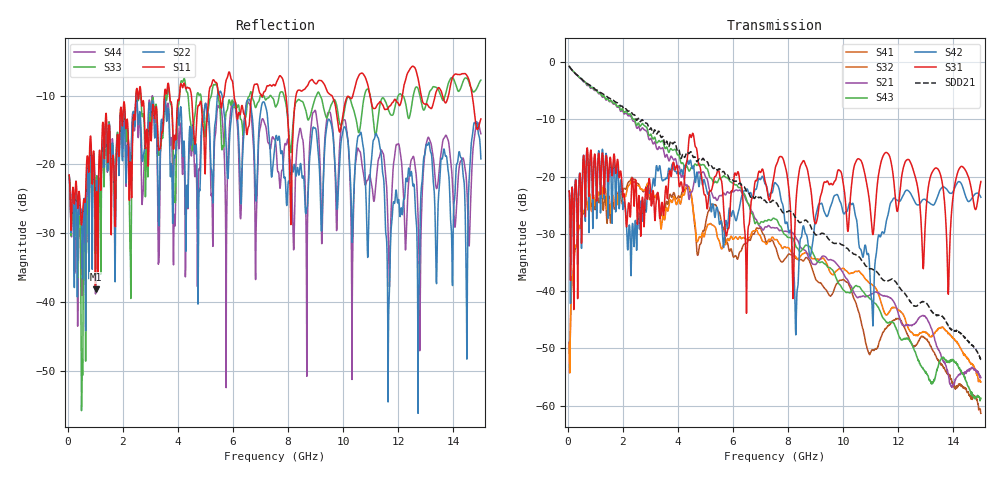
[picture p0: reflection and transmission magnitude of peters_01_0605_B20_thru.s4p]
! peters_01_0605 B20 channel thru response
#  HZ  S  RI  R  50
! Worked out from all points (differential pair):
!   1496 points, 50 MHz to 15 GHz, reference 50 ohm
!   strongest paths, dB at 50 MHz, 3.79 GHz, 7.53 GHz, 11.27 GHz, 15 GHz:
!     S31: -22.5, -18.6, -18.6, -20.2, -20.8
!     S42: -22.5, -17.8, -21.0, -30.5, -23.6
!     S43: -0.7, -15.3, -27.4, -42.8, -58.7
!     S21: -0.7, -16.7, -29.0, -40.3, -55.1
!     S32: -49.4, -24.5, -31.0, -40.4, -55.9
!     S41: -48.9, -23.6, -32.2, -49.7, -61.3
!   taken as a pair (ports 3,1 in; 4,2 out), SDD21 dB: -0.7, -14.2, -24.5, -36.9, -52.0
!   lowest |S11| = -38.1 dB at 1.01 GHz (marker M1), VSWR 1.03, Z = 50.1 - j1.24 ohm
!   |S11| at or under -10 dB: start of sweep to 2.477 GHz; 2.662 GHz to 3.51 GHz (847.9 MHz wide, 27.5 % of centre); 10.97 GHz to 12.15 GHz (1.177 GHz wide, 10.2 % of centre)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
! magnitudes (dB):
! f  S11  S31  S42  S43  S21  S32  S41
! 50 MHz  -21.5  -22.5  -22.5  -0.7  -0.7  -49.4  -48.9
! 1.01 GHz  -38.1  -17.7  -18.0  -4.9  -4.9  -24.9  -25.2
! 7.57 GHz  -8.2  -18.0  -21.2  -27.5  -28.9  -31.0  -32.6
! 8.3 GHz  -9.8  -23.5  -43.4  -32.3  -30.8  -34.1  -34.3
! 11.23 GHz  -11.4  -21.8  -32.2  -42.5  -40.2  -39.9  -50.0
! 11.65 GHz  -11.7  -16.1  -26.2  -45.5  -41.0  -43.8  -46.0
! 15 GHz  -13.4  -20.8  -23.6  -58.7  -55.1  -55.9  -61.3
